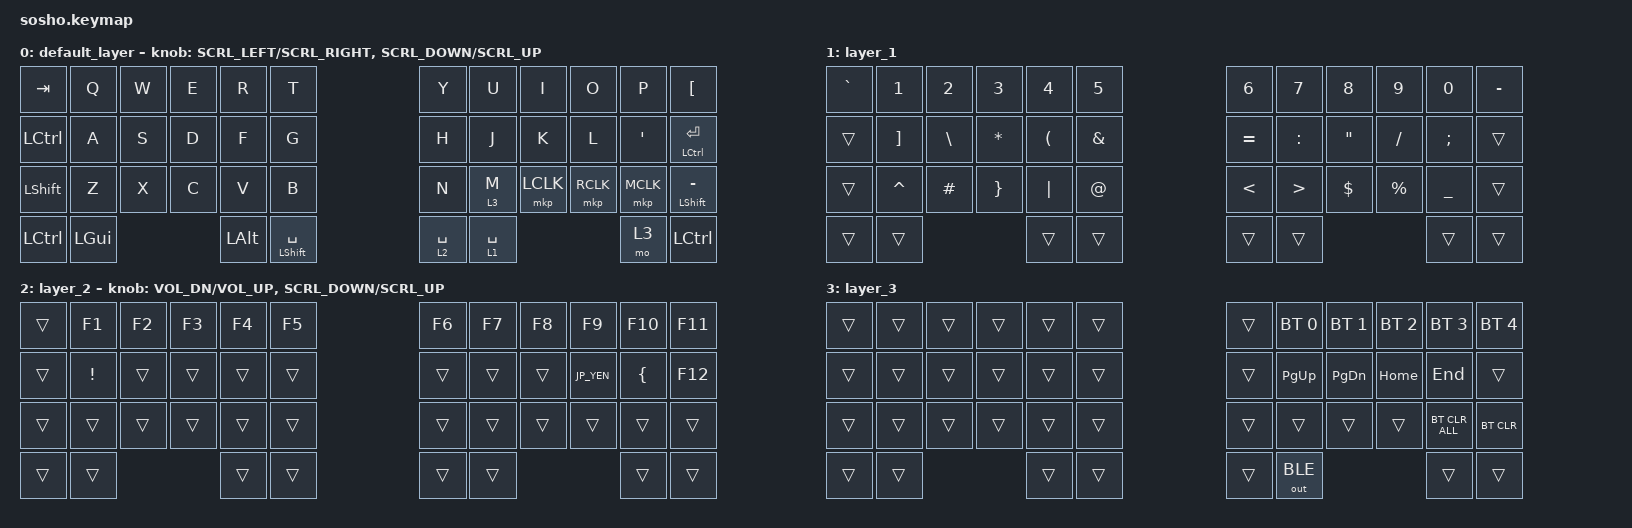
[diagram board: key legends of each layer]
//スクロール量の調整(デフォルト150)
#define ZMK_POINTING_DEFAULT_SCRL_VAL 150

#include <behaviors.dtsi>
#include <dt-bindings/zmk/bt.h>
#include <dt-bindings/zmk/keys.h>
#include <dt-bindings/zmk/pointing.h>
#include <dt-bindings/zmk/outputs.h>

// OS設定を日本語キーボードのまま使用するための変換定義
#define JP_DQUOTE       AT                // "
#define JP_AMPERSAND    CARET             // &
#define JP_QUOTE        AMPERSAND         // '
#define JP_EQUAL        UNDER             // =
#define JP_CARET        EQUAL             // ^
#define JP_YEN          0x89              // ¥
#define JP_PLUS         COLON             // +
#define JP_TILDE        PLUS              // ~
#define JP_PIPE         LS(0x89)          // |
#define JP_AT           LEFT_BRACKET      // @
#define JP_COLON        SINGLE_QUOTE      // :
#define JP_ASTERISK     DOUBLE_QUOTES     // *
#define JP_BACKQUOTE    LEFT_BRACE        // `
#define JP_UNDERSCORE   LS(0x87)          // _
#define JP_LBRACKET     RIGHT_BRACKET     // [
#define JP_RBRACKET     BACKSLASH         // ]
#define JP_LPAREN       ASTERISK          // (
#define JP_RPAREN       LEFT_PARENTHESIS  // )
#define JP_LBRACE       RIGHT_BRACE       // {
#define JP_RBRACE       PIPE              // }
#define JP_KANA         LANGUAGE_1        // かな
#define JP_EISU         LANGUAGE_2        // 英数
#define JP_HANZEN       GRAVE             // 半角/全角

/ {
	behaviors {
        ec_ms_l: ec_ms_h {
            compatible = "zmk,behavior-encoder-mouse-scroll";
            #sensor-binding-cells = <2>;
        };
        ec_ms_r: ec_ms_v {
            compatible = "zmk,behavior-encoder-mouse-scroll";
            #sensor-binding-cells = <2>;
        };
		my_lt: hold_tap {
            compatible = "zmk,behavior-hold-tap";
            #binding-cells = <2>;
            flavor = "tap-preferred";
            tapping-term-ms = <200>;
            bindings = <&mo>, <&kp>;
            display-name = "Layer-Tap";
        };
		my_mt: mod_tap {
            compatible = "zmk,behavior-hold-tap";
            #binding-cells = <2>;
            flavor = "hold-preferred";
            tapping-term-ms = <200>;
            bindings = <&kp>, <&kp>;
            display-name = "Mod-Tap";
        };
    };
};

//スクロールの調整
&msc {
    time-to-max-speed-ms = <0>;   // 即座に最大速度（加速なし）
    acceleration-exponent = <0>;   // 加速なし
};

/{
    combos {
        compatible = "zmk,combos";

		//左カーソルのコンボ 19はJのキー 20はKのキーに相当します。
	    combo_LEFT {
            timeout-ms = <90>;
            key-positions = <19 20>;
            bindings = <&kp LEFT>;
        };

		//右カーソルのコンボ 20 K 21 L
        combo_RIGHT {
            timeout-ms = <90>;
            key-positions = <20 21>;
            bindings = <&kp RIGHT>;
        };

		//上カーソルのコンボ 7 8
        combo_UP {
            timeout-ms = <90>;
            key-positions = <7 8>;
            bindings = <&kp UP>;
        };

		//下カーソルのコンボ 30 K 31 L
        combo_DOWN {
            timeout-ms = <90>;
            key-positions = <31 32>;
            bindings = <&kp DOWN>;
        };

		//ホイールクリックのコンボ 32 33
	    combo_MCLK {
            timeout-ms = <90>;
            key-positions = <32 33>;
            bindings = <&mkp MCLK>;
        };

		//バックスペースのコンボ 8 9 
	    combo_BSPC {
            timeout-ms = <90>;
            key-positions = <8 9>;
            bindings = <&kp BSPC>;
        };

		//デリートのコンボ 30 31
	    combo_DEL {
            timeout-ms = <90>;
            key-positions = <30 31>;
            bindings = <&kp DEL>;
        };

		//エスケープのコンボ 27 28
	    combo_ESC {
            timeout-ms = <90>;
            key-positions = <27 28>;
            bindings = <&kp ESC>;
        };

		//アンダースコアのコンボ 16 7
	    combo_UNDER {
            timeout-ms = <90>;
            key-positions = <16 7>;
            bindings = <&kp JP_UNDERSCORE>;
        };

		//カンマのコンボ 16 32
	    combo_COMMA {
            timeout-ms = <90>;
            key-positions = <16 32>;
            bindings = <&kp COMMA>;
        };

		//DOTのコンボ 16 33
	    combo_DOT {
            timeout-ms = <90>;
            key-positions = <16 33>;
            bindings = <&kp DOT>;
	    };

		//チルダのコンボ 16 30
	    combo_TILDE {
            timeout-ms = <90>;
            key-positions = <16 30>;
            bindings = <&kp JP_TILDE>;
	    };

		//クエスチョンのコンボ 1 19
	    combo_QMARK {
            timeout-ms = <90>;
            key-positions = <1 19>;
            bindings = <&kp QMARK>;
	    };

		//エクスプラメーションのコンボ 3 19
	    combo_EXCL {
            timeout-ms = <90>;
            key-positions = <3 19>;
            bindings = <&kp EXCL>;
	    };

		//パイプのコンボ 16 10
	    combo_PIPE {
            timeout-ms = <90>;
            key-positions = <16 10>;
            bindings = <&kp JP_PIPE>;
	    };

		//yenのコンボ 16 6
	    combo_YEN {
            timeout-ms = <90>;
            key-positions = <16 6>;
            bindings = <&kp JP_YEN>;
	    };
    };
};


/{
keymap {
    compatible = "zmk,keymap";

    default_layer {
        bindings = <
            &kp TAB    &kp Q   &kp W  &kp E  &kp R  	&kp T  		     												&kp Y  			&kp U  				&kp I      	&kp O      	&kp P     	&kp JP_AT 
            &kp LCTRL  &kp A   &kp S  &kp D  &kp F  	&kp G   	     												&kp H  			&kp J  				&kp K      	&kp L      	&kp SQT     &my_mt LCTRL ENTER
            &kp LSHFT  &kp Z   &kp X  &kp C  &kp V  	&kp B      		 												&kp N  			&my_lt 3 M 			&mkp LCLK  	&mkp RCLK  	&mkp MCLK 	&my_mt LSHFT MINUS
            &kp LCTRL  &kp LGUI              &kp LALT 	&my_mt LSHIFT SPACE 											&my_lt 2 SPACE  &my_lt 1 SPACE      			        	&mo 3  		&kp LCTRL
        >;
		//&ec_ms_lとrは、上のビヘイビアで作ったもの。;
        sensor-bindings = <&ec_ms_l SCRL_LEFT SCRL_RIGHT &ec_ms_r SCRL_DOWN SCRL_UP>;
    };
	
    layer_1 {
        bindings = <
            &kp GRAVE	&kp N1				&kp N2			&kp N3			&kp N4			&kp N5							&kp N6       &kp N7      &kp N8       		&kp N9    		&kp N0  	 	&kp MINUS
            &trans		&kp JP_LBRACKET		&kp	JP_RBRACKET	&kp JP_LPAREN	&kp JP_RPAREN	&kp JP_QUOTE					&kp JP_CARET &kp JP_PLUS &kp JP_ASTERISK 	&kp SLASH 		&kp SEMI	 	&trans
            &trans		&kp JP_AMPERSAND	&kp HASH		&kp	JP_LBRACE	&kp	JP_RBRACE	&kp JP_DQUOTE					&kp LT  	 &kp GT		 &kp DLLR		  	&kp PRCNT		&kp JP_EQUAL	&trans
            &trans	 	&trans         		  								&trans	 		&trans							&trans		 &trans                     					&trans			&trans
        >;
    };

    layer_2 {
        bindings = <
            &trans		&kp F1		&kp F2			&kp F3		&kp F4		&kp F5										&kp F6			  		&kp F7	 	   	&kp F8		   	&kp F9			&kp F10				&kp F11
            &trans		&kp EXCL	&trans			&trans		&trans		&trans      								&trans 		 			&trans	 		&trans			&kp JP_YEN 		&kp JP_BACKQUOTE	&kp F12
            &trans		&trans		&trans			&trans		&trans 		&trans     									&trans			  		&trans   	 	&trans   		&trans		    &trans				&trans
			&trans		&trans									&trans	 	&trans										&trans					&trans											&trans				&trans
        >;
		//レイヤー2のときだけ、左手のエンコーダを回すとボリュームの上下ができるようになっています。
		sensor-bindings = <&inc_dec_kp C_VOL_DN C_VOL_UP &ec_ms_r SCRL_DOWN SCRL_UP>;

    };

    layer_3 {
        bindings = <
            &trans &trans &trans &trans &trans &trans      				&trans	&bt BT_SEL 0  &bt BT_SEL 1  &bt BT_SEL 2  &bt BT_SEL 3   &bt BT_SEL 4
            &trans &trans &trans &trans &trans &trans      				&trans	&kp PG_UP     &kp PG_DN     &kp HOME      &kp END        &trans
            &trans &trans &trans &trans &trans &trans      				&trans  &trans        &trans        &trans        &bt BT_CLR_ALL &bt BT_CLR
            &trans &trans               &trans &trans      				&trans  &out OUT_BLE                              &trans         &trans
        >;
    };
    scroll {
        status = "reserved";
    };

    extra2 {
        status = "reserved";
    };
};
};
